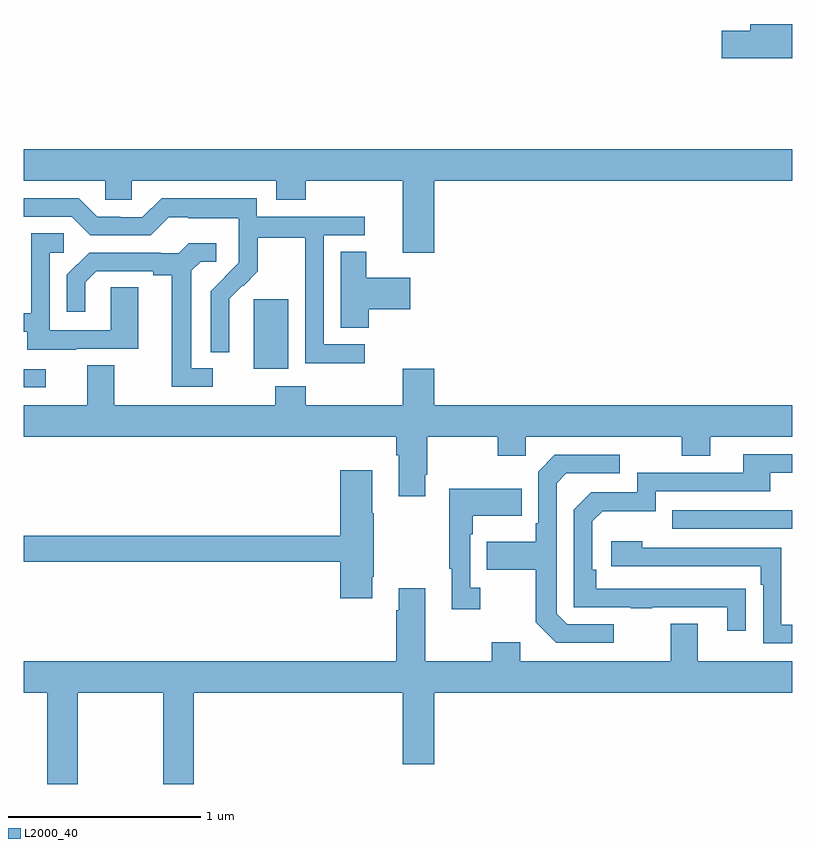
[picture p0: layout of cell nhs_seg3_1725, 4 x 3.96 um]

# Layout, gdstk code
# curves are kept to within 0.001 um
import gdstk
lib = gdstk.Library(unit=1e-6, precision=1e-09)
def R(c, l, rs):  # rectangles x0, y0, x1, y1
    for r in rs: c.add(gdstk.rectangle(r[:2], r[2:], *l))
def P(c, l, *ps):  # polygons
    for p in ps: c.add(gdstk.Polygon(p, *l))
L2000_40 = (2000, 40)

nhs_seg3_1725 = lib.new_cell('nhs_seg3_1725')
R(nhs_seg3_1725, L2000_40, [(202.375,741.729,203,741.825), (199,742.464,199.114,742.56), (200.198,742.562,200.377,742.923)])
P(nhs_seg3_1725, L2000_40, [(203,744.356),(202.781,744.356),(202.781,744.32),(202.632,744.32),(202.632,744.178),(203,744.178)],
  [(201.136,743.54),(203,743.54),(203,743.704),(199,743.704),(199,743.54),(199.425,743.54),(199.425,743.442),(199.563,743.442),(199.563,743.54),(200.315,743.54),(200.315,743.441),(200.468,743.441),(200.468,743.54),(200.972,743.54),(200.972,743.166),(201.136,743.166)],
  [(200.776,742.689),(200.562,742.689),(200.562,743.256),(200.776,743.256),(200.776,743.352),(200.214,743.352),(200.214,743.449),(199.717,743.449),(199.617,743.349),(199.502,743.349),(199.502,743.352),(199.383,743.352),(199.287,743.448),(199,743.448),(199,743.352),(199.251,743.352),(199.347,743.256),(199.662,743.256),(199.755,743.349),(199.855,743.349),(199.855,743.345),(200.118,743.345),(200.118,743.211),(200.12,743.211),(200.12,743.114),(199.974,742.966),(199.974,742.648),(200.07,742.648),(200.069,742.925),(200.139,742.995),(200.142,742.992),(200.219,743.069),(200.219,743.244),(200.464,743.244),(200.464,743.02),(200.466,743.02),(200.466,742.591),(200.776,742.591)],
  [(199.273,742.665),(199.597,742.665),(199.597,742.985),(199.452,742.985),(199.452,742.761),(199.134,742.761),(199.134,743.166),(199.207,743.166),(199.207,743.267),(199.038,743.267),(199.038,742.851),(199,742.851),(199,742.755),(199.019,742.755),(199.019,742.661),(199.273,742.661)],
  [(199.984,742.563),(199.873,742.563),(199.873,743.071),(199.92,743.118),(200.002,743.118),(200.002,743.215),(199.858,743.215),(199.806,743.163),(199.712,743.163),(199.712,743.166),(199.34,743.166),(199.224,743.05),(199.224,742.857),(199.321,742.857),(199.321,743.013),(199.378,743.07),(199.673,743.07),(199.673,743.048),(199.769,743.048),(199.769,742.467),(199.984,742.467)],
  [(200.795,742.87),(201.013,742.87),(201.013,743.035),(200.782,743.035),(200.782,743.171),(200.651,743.171),(200.651,742.774),(200.795,742.774)],
  [(201.091,742.009),(201.099,742.009),(201.099,742.208),(201.466,742.208),(201.466,742.109),(201.612,742.109),(201.612,742.208),(202.426,742.208),(202.426,742.109),(202.573,742.109),(202.573,742.208),(203,742.208),(203,742.372),(201.136,742.372),(201.136,742.561),(200.972,742.561),(200.972,742.372),(200.468,742.372),(200.468,742.471),(200.308,742.471),(200.308,742.372),(199.471,742.372),(199.471,742.58),(199.331,742.58),(199.331,742.372),(199,742.372),(199,742.208),(200.939,742.208),(200.939,742.112),(200.951,742.112),(200.951,741.897),(201.091,741.897)],
  [(202.757,741.416),(201.98,741.417),(201.98,741.514),(201.96,741.514),(201.96,741.768),(202.013,741.821),(202.29,741.821),(202.29,741.924),(202.885,741.924),(202.885,742.02),(203,742.02),(203,742.116),(202.745,742.116),(202.745,742.02),(202.194,742.02),(202.194,741.918),(201.954,741.918),(201.864,741.828),(201.864,741.321),(202.159,741.321),(202.159,741.316),(202.271,741.316),(202.271,741.321),(202.661,741.321),(202.661,741.198),(202.757,741.198)],
  [(202.072,741.231),(201.828,741.231),(201.774,741.285),(201.774,741.966),(201.825,742.017),(202.102,742.017),(202.102,742.113),(201.765,742.113),(201.678,742.026),(201.678,741.757),(201.666,741.757),(201.666,741.661),(201.409,741.661),(201.409,741.514),(201.666,741.514),(201.666,741.241),(201.771,741.135),(202.072,741.135)],
  [(200.815,741.478),(200.823,741.478),(200.823,741.809),(200.815,741.809),(200.815,742.033),(200.648,742.033),(200.648,741.692),(199,741.692),(199,741.556),(200.648,741.556),(200.648,741.366),(200.815,741.366)],
  [(201.376,741.422),(201.324,741.422),(201.324,741.701),(201.337,741.701),(201.337,741.797),(201.593,741.797),(201.593,741.937),(201.216,741.937),(201.216,741.521),(201.227,741.521),(201.227,741.309),(201.376,741.309)],
  [(203,741.228),(202.944,741.228),(202.944,741.63),(202.22,741.63),(202.22,741.664),(202.059,741.664),(202.059,741.534),(202.835,741.534),(202.835,741.437),(202.848,741.437),(202.848,741.132),(203,741.132)],
  [(199.281,740.876),(199.726,740.876),(199.726,740.4),(199.886,740.4),(199.886,740.876),(200.972,740.876),(200.972,740.502),(201.136,740.502),(201.136,740.876),(203,740.876),(203,741.04),(202.507,741.04),(202.507,741.235),(202.367,741.235),(202.367,741.04),(201.583,741.04),(201.583,741.139),(201.436,741.139),(201.436,741.04),(201.091,741.04),(201.091,741.418),(200.951,741.418),(200.951,741.305),(200.939,741.305),(200.939,741.04),(199,741.04),(199,740.876),(199.121,740.876),(199.121,740.4),(199.281,740.4)])

lib.write_gds('nhs_seg3_1725.gds')
